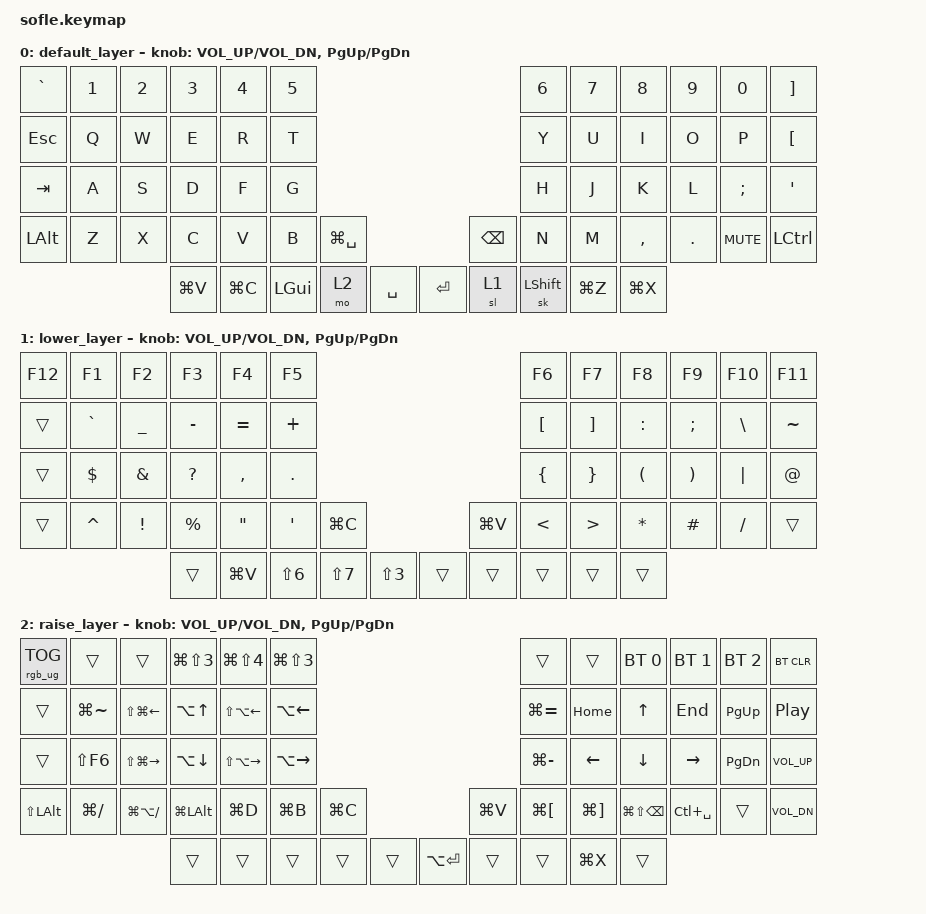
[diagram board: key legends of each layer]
/*
 * Copyright (c) 2020 The ZMK Contributors
 *
 * SPDX-License-Identifier: MIT
 */

#include <behaviors.dtsi>
#include <dt-bindings/zmk/keys.h>
#include <dt-bindings/zmk/bt.h>
#include <dt-bindings/zmk/rgb.h>
#include <dt-bindings/zmk/ext_power.h>

/ {
    keymap {
        compatible = "zmk,keymap";

        default_layer {
// |-------+-------+-------+-------+-------+-------|                                    |-------+-------+-------+-------+-------+-------|
// |   ~   |   !   |   @   |   #   |   $   |   %   |                                    |   ^   |   &   |   *   |   (   |   )   |   }   |
// |   `   |   1   |   2   |   3   |   4   |   5   |                                    |   6   |   7   |   8   |   9   |   0   |   ]   |
// |-------+-------+-------+-------+-------+-------|                                    |-------+-------+-------+-------+-------+-------|
// |  ESC  |   Q   |   W   |   E   |   R   |   T   |                                    |   Y   |   U   |   I   |   O   |   P   |   {   |
// |       |       |       |       |       |       |                                    |       |       |       |       |       |   [   |
// |-------+-------+-------+-------+-------+-------|                                    |-------+-------+-------+-------+-------+-------|
// |  TAB  |   A   |   S   |   D   |   F   |   G   |                                    |   H   |   J   |   K   |   L   |   :   |   "   |
// |       |       |       |       |       |       |                                    |       |       |       |       |   ;   |   '   |
// |-------+-------+-------+-------+-------+-------+-------|                    |-------+-------+-------+-------+-------+-------+-------|
// |  ALT  |   Z   |   X   |   C   |   V   |   B   | LANG  |                    | BKSPC |   N   |   M   |   <   |   >   | MUTE  | CTRL  |
// |       |       |       |       |       |       |       |                    |       |       |       |   ,   |   .   |       |       |
// |-------+-------+-------+-------+-------+-------+-------+-------|    |-------+-------+-------+-------+-------+-------+-------+-------|
//                         | PASTE | COPY  |  GUI  | RAISE | SPACE |    | ENTER | LOWER | SHIFT | UNDO  |  CUT  |
//                         |       |       |       |       |       |    |       |       |       |       |       |
//                         |-------+-------+-------+-------+-------|    |-------+-------+-------+-------+-------|
            bindings = <
&kp GRAVE  &kp N1   &kp N2  &kp N3     &kp N4    &kp N5                                                  &kp N6    &kp N7    &kp N8     &kp N9   &kp N0      &kp RBKT
&kp ESC    &kp Q    &kp W   &kp E      &kp R     &kp T                                                   &kp Y     &kp U     &kp I      &kp O    &kp P       &kp LBKT
&kp TAB    &kp A    &kp S   &kp D      &kp F     &kp G                                                   &kp H     &kp J     &kp K      &kp L    &kp SEMI    &kp SQT
&kp LALT   &kp Z    &kp X   &kp C      &kp V     &kp B     &kp LG(SPACE)                       &kp BSPC  &kp N     &kp M     &kp COMMA  &kp DOT  &kp C_MUTE  &kp LCTRL
                            &kp LG(V)  &kp LG(C) &kp LGUI  &mo 2         &kp SPACE   &kp ENTER &sl 1     &sk LSHFT &kp LG(Z) &kp LG(X)
            >;

            sensor-bindings = <&inc_dec_kp C_VOL_UP C_VOL_DN &inc_dec_kp PG_UP PG_DN>;
        };

        lower_layer {
// |-------+-------+-------+-------+-------+-------|                                    |-------+-------+-------+-------+-------+-------|
// |  F12  |   F1  |   F2  |   F3  |   F4  |   F5  |                                    |   F6  |   F7  |   F8  |   F9  |   F10 |   F11 |
// |       |       |       |       |       |       |                                    |       |       |       |       |       |       |
// |-------+-------+-------+-------+-------+-------|                                    |-------+-------+-------+-------+-------+-------|
// |  ESC  |   `   |   _   |   -   |   =   |   +   |                                    |   [   |   ]   |   :   |   ;   |   \   |   ~   |
// |       |       |       |       |       |       |                                    |       |       |       |       |       |       |
// |-------+-------+-------+-------+-------+-------|                                    |-------+-------+-------+-------+-------+-------|
// |  TAB  |   $   |   &   |   ?   |   ,   |   .   |                                    |   {   |   }   |   (   |   )   |   |   |   @   |
// |       |       |       |       |       |       |                                    |       |       |       |       |       |       |
// |-------+-------+-------+-------+-------+-------+-------|                    |-------+-------+-------+-------+-------+-------+-------|
// |  ALT  |   ^   |   !   |   %   |   "   |   '   | COPY  |                    | PASTE |   <   |   >   |   *   |   #   |   /   | PAUSE |
// |       |       |       |       |       |       |       |                    |       |       |       |       |       |       |       |
// |-------+-------+-------+-------+-------+-------+-------+-------|    |-------+-------+-------+-------+-------+-------+-------+-------|
//                         | PASTE | COPY  |  GUI  | RAISE | SPACE |    | ENTER | LOWER | SHIFT | UNDO  |  CUT  |
//                         |       |       |       |       |       |    |       |       |       |       |       |
//                         |-------+-------+-------+-------+-------|    |-------+-------+-------+-------+-------|
            bindings = <
&kp F12   &kp F1     &kp F2     &kp F3     &kp F4     &kp F5                                                    &kp F6    &kp F7    &kp F8     &kp F9    &kp F10   &kp F11
&trans    &kp GRAVE  &kp UNDER  &kp MINUS  &kp EQUAL  &kp PLUS                                                  &kp LBKT  &kp RBKT  &kp COLON  &kp SEMI  &kp BSLH  &kp TILDE
&trans    &kp DLLR   &kp AMPS   &kp QMARK  &kp COMMA  &kp DOT                                                   &kp LBRC  &kp RBRC  &kp LPAR   &kp RPAR  &kp PIPE  &kp AT
&trans    &kp CARET  &kp EXCL   &kp PRCNT  &kp DQT    &kp SQT    &kp LG(C)                         &kp LG(V)    &kp LT    &kp GT    &kp STAR   &kp HASH  &kp FSLH  &trans
                                &trans     &kp LG(V)  &kp LS(N6) &kp LS(N7) &kp LS(N3)     &trans  &trans       &trans    &trans    &trans
            >;

            sensor-bindings = <&inc_dec_kp C_VOL_UP C_VOL_DN &inc_dec_kp PG_UP PG_DN>;
        };

        raise_layer {
// |-------+-------+-------+-------+-------+-------|                                    |-------+-------+-------+-------+-------+-------|
// | RGB   |  1    |    2  | SCRN  |  SCRN |  SCRN |                                    |   ^   |   &   |  BT0  |  BT1  |  BT2  |  BT   |
// |       |       |       |   3   |   4   |   5   |                                    |   6   |   7   |       |       |       | CLEAR |
// |-------+-------+-------+-------+-------+-------|                                    |-------+-------+-------+-------+-------+-------|
// |  ESC  | SWITCH|SEL ALL| UNSEL |SEL WRD|NXT WRD|                                    |REPLACE|  HOME |   UP  |  END  |  PGUP | PAUSE |
// |       | WINDOW|  LEFT | SCOPE |  LEFT |  LEFT |                                    |       |       |       |       |       |   [   |
// |-------+-------+-------+-------+-------+-------|                                    |-------+-------+-------+-------+-------+-------|
// |  TAB  | RENAME|SEL ALL|  SEL  |SEL WRD|NXT WRD|                                    |  LAST |  LEFT |  DOWN | RIGHT |  PGDN |  VOL  |
// |       |       | RIGHT | SCOPE | RIGHT | RIGHT |                                    |  EDIT |       |       |       |       |  UP   |
// |-------+-------+-------+-------+-------+-------+-------|                    |-------+-------+-------+-------+-------+-------+-------|
// |  ALT  |COMMENT|COMMENT| GO TO |CHANGE | DPLCT |COPY   |                    | PASTE | PREV  | NEXT  | SHOW  | SHOW  | MUTE  |  VOL  |
// |       |       |BLOCK  | SRC   |LINE   |       |       |                    |       | PLACE | PLACE | NEXT  | VARS  |       |  DOWN |
// |-------+-------+-------+-------+-------+-------+-------+-------|    |-------+-------+-------+-------+-------+-------+-------+-------|
//                         | PASTE | COPY  |  GUI  | RAISE | SPACE |    |IMPORTS| LOWER | SHIFT | UNDO  |  CUT  |
//                         |       |       |       |       |       |    |       |       |       |       |       |
//                         |-------+-------+-------+-------+-------|    |-------+-------+-------+-------+-------|
            bindings = <
&rgb_ug RGB_TOG  &trans        &trans            &kp LG(LS(3)) &kp LG(LS(4))     &kp LG(LS(3))                                         &trans         &trans        &bt BT_SEL 0         &bt BT_SEL 1  &bt BT_SEL 2  &bt BT_CLR
&trans           &kp LG(TILDE) &kp LS(LG(LEFT))  &kp LA(UP)    &kp LS(LA(LEFT))  &kp LA(LEFT)                                          &kp LG(EQUAL)  &kp HOME      &kp UP               &kp END       &kp PG_UP     &kp C_PP
&trans           &kp LS(F6)    &kp LS(LG(RIGHT)) &kp LA(DOWN)  &kp LS(LA(RIGHT)) &kp LA(RIGHT)                                         &kp LG(MINUS)  &kp LEFT      &kp DOWN             &kp RIGHT     &kp PG_DN     &kp C_VOL_UP
&kp LS(LALT)     &kp LG(FSLH)  &kp LG(LA(FSLH))  &kp LG(LALT)  &kp LG(D)         &kp LG(B)     &kp LG(C)                &kp LG(V)      &kp LG(LBKT)   &kp LG(RBKT)  &kp LG(LS(BSPC))     &kp LC(SPACE) &trans        &kp C_VOL_DN
                                                 &trans        &trans            &trans        &trans          &trans   &kp LA(ENTER)  &trans     &trans         &kp LG(X)     &trans
            >;

            sensor-bindings = <&inc_dec_kp C_VOL_UP C_VOL_DN &inc_dec_kp PG_UP PG_DN>;
        };
    };
};
